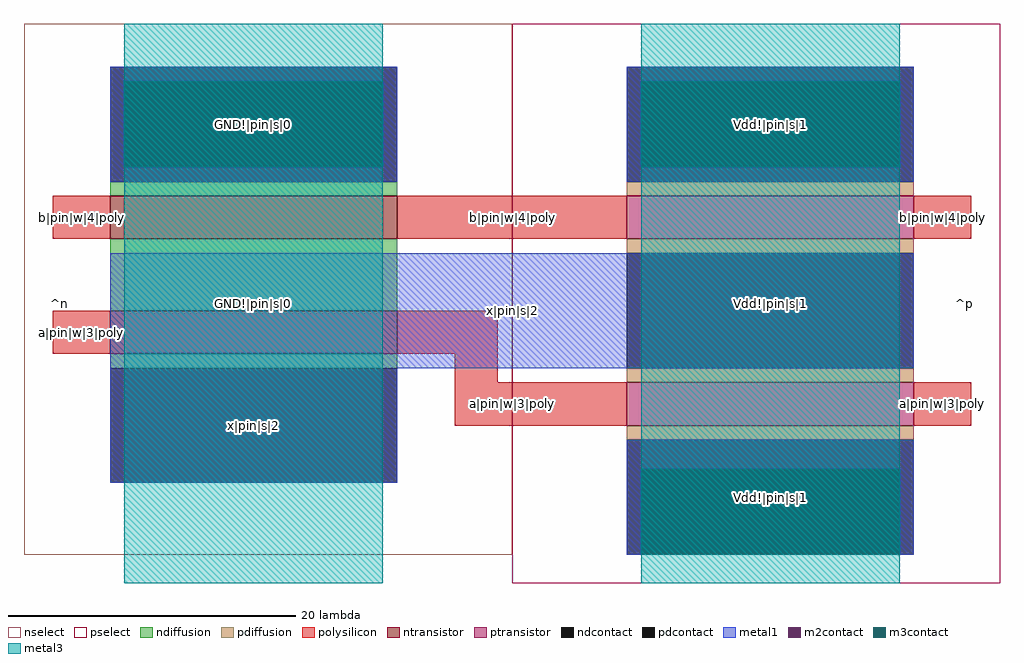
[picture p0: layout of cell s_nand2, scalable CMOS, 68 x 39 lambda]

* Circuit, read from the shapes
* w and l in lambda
.subckt s_nand2 GND!|pin|s|0 Vdd!|pin|s|1 a|pin|w|3|poly b|pin|w|4|poly x|pin|s|2
M1 n1 a|pin|w|3|poly x|pin|s|2 VSUBS nfet w=20 l=3
M2 GND!|pin|s|0 b|pin|w|4|poly n1 VSUBS nfet w=20 l=3
M3 x|pin|s|2 a|pin|w|3|poly Vdd!|pin|s|1 NWELL pfet w=20 l=3
M4 Vdd!|pin|s|1 b|pin|w|4|poly x|pin|s|2 NWELL pfet w=20 l=3
.ends

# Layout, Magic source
magic
tech scmos
<< nselect >>
rect -34 539 0 576
<< pselect >>
rect 0 537 34 576
<< ndiffusion >>
rect -28 564 -8 565
rect -28 556 -8 561
rect -28 552 -8 553
<< pdiffusion >>
rect 8 564 28 565
rect 8 560 28 561
rect 8 551 28 552
rect 8 547 28 548
<< ntransistor >>
rect -28 561 -8 564
rect -28 553 -8 556
<< ptransistor >>
rect 8 561 28 564
rect 8 548 28 551
<< polysilicon >>
rect -32 561 -28 564
rect -8 561 8 564
rect 28 561 32 564
rect -32 553 -28 556
rect -8 553 -1 556
rect -4 551 -1 553
rect -4 548 8 551
rect 28 548 32 551
<< ndcontact >>
rect -28 565 -8 573
rect -28 544 -8 552
<< pdcontact >>
rect 8 565 28 573
rect 8 552 28 560
rect 8 539 28 547
<< metal1 >>
rect -28 572 -8 573
rect -28 566 -27 572
rect -9 566 -8 572
rect -28 565 -8 566
rect 8 572 28 573
rect 8 566 9 572
rect 27 566 28 572
rect 8 565 28 566
rect -28 552 28 560
rect -28 544 -8 552
rect 8 545 28 547
rect 8 539 9 545
rect 27 539 28 545
<< m2contact >>
rect -27 566 -9 572
rect 9 566 27 572
rect 9 539 27 545
<< m3contact >>
rect -27 566 -9 572
rect 9 566 27 572
rect 9 539 27 545
<< metal3 >>
rect -27 537 -9 576
rect 9 537 27 576
<< labels >>
rlabel space -35 537 -28 576 7 ^n
rlabel space 28 537 35 576 3 ^p
rlabel metal3 -27 537 -9 576 1 GND!|pin|s|0
rlabel metal1 -28 565 -8 573 1 GND!|pin|s|0
rlabel metal3 9 537 27 576 1 Vdd!|pin|s|1
rlabel metal1 8 565 28 573 1 Vdd!|pin|s|1
rlabel metal1 8 539 28 547 1 Vdd!|pin|s|1
rlabel metal1 -28 552 28 560 1 x|pin|s|2
rlabel metal1 -28 544 -8 552 1 x|pin|s|2
rlabel polysilicon -2 548 2 551 1 a|pin|w|3|poly
rlabel polysilicon 28 548 32 551 1 a|pin|w|3|poly
rlabel polysilicon -32 553 -28 556 1 a|pin|w|3|poly
rlabel polysilicon 28 561 32 564 1 b|pin|w|4|poly
rlabel polysilicon -2 561 2 564 1 b|pin|w|4|poly
rlabel polysilicon -32 561 -28 564 1 b|pin|w|4|poly
<< end >>
